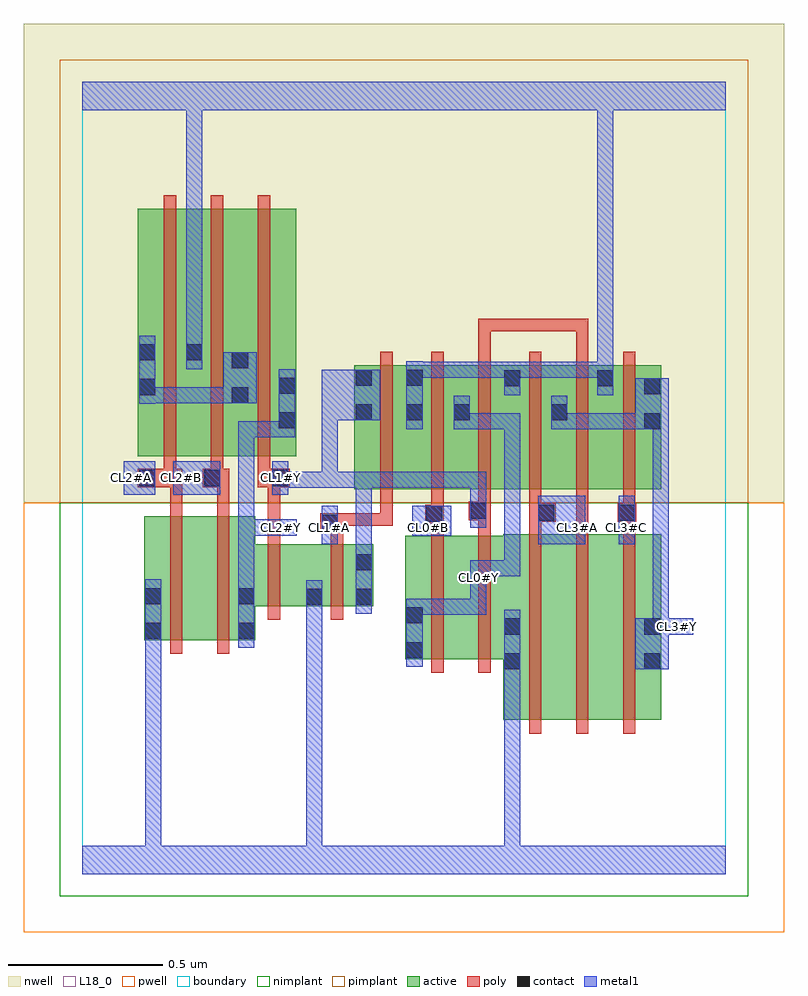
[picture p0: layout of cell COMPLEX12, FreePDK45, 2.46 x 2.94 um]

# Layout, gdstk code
import gdstk
lib = gdstk.Library(unit=1e-6, precision=1e-09)
def R(c, l, rs):  # rectangles x0, y0, x1, y1
    for r in rs: c.add(gdstk.rectangle(r[:2], r[2:], *l))
def A(c, l, x, y, w, h, nx, ny, dx, dy):  # array of equal rectangles
    R(c, l, [(x+i*dx, y+j*dy, x+i*dx+w, y+j*dy+h) for i in range(nx) for j in range(ny)])
active = (1, 0)
pwell = (2, 0)
nwell = (3, 0)
nimplant = (4, 0)
pimplant = (5, 0)
poly = (9, 0)
contact = (10, 0)
metal1 = (11, 0)
L18_0 = (18, 0)
boundary = (235, 0)

complex12 = lib.new_cell('COMPLEX12')
R(complex12, active, [(1.36,0.498,1.54,1.098), (1.36,0.498,1.42,1.094), (1.54,0.498,1.692,1.098), (1.692,0.498,1.872,1.098), (1.812,0.556,1.872,1.098), (1.044,0.694,1.224,1.094), (1.044,0.694,1.104,1.094), (1.224,0.694,1.42,1.094), (0.2,0.756,0.38,1.156), (0.2,0.756,0.26,1.156), (0.38,0.756,0.56,1.156), (0.5,0.756,0.56,0.928), (0.5,0.866,0.78,1.066), (0.72,0.866,0.94,1.066), (0.72,0.866,0.78,0.926), (0.88,0.866,0.94,1.066), (0.88,1.244,0.94,1.644), (0.88,1.244,1.104,1.644), (1.044,1.244,1.104,1.644), (1.044,1.244,1.256,1.644), (1.196,1.244,1.256,1.644), (1.196,1.244,1.42,1.644), (1.36,1.244,1.42,1.644), (1.36,1.244,1.572,1.644), (1.512,1.244,1.572,1.644), (1.512,1.244,1.72,1.644), (1.66,1.244,1.72,1.644), (1.66,1.244,1.872,1.644), (1.812,1.244,1.872,1.644), (0.18,1.35,0.24,2.044), (0.18,1.35,0.392,2.15), (0.332,1.35,0.54,2.15), (0.48,1.35,0.692,2.15), (0.632,1.35,0.692,2.044), (0.48,1.518,0.54,2.044), (0.332,1.656,0.392,2.044)])
R(complex12, pwell, [(-0.188,-0.188,2.268,1.2)])
R(complex12, nwell, [(-0.188,1.2,2.268,2.748)])
R(complex12, nimplant, [(-0.072,-0.072,2.152,1.2)])
R(complex12, pimplant, [(-0.072,1.2,2.152,2.632)])
A(complex12, poly, 1.444, 0.454, 0.04, 0.688, 3, 1, 0.152, 0)
A(complex12, poly, 1.444, 1.2, 0.04, 0.488, 3, 1, 0.152, 0)
A(complex12, poly, 0.264, 1.27, 0.04, 0.076, 3, 1, 0.152, 0)
A(complex12, poly, 0.264, 1.306, 0.04, 0.888, 3, 1, 0.152, 0)
R(complex12, poly, [(1.128,0.65,1.168,1.138), (1.28,0.65,1.32,1.138), (0.284,0.712,0.324,1.2), (0.436,0.712,0.476,1.2), (0.6,0.822,0.64,1.11), (0.804,0.822,0.844,1.11), (0.6,1.07,0.64,1.29), (0.804,1.07,0.844,1.146), (1.128,1.098,1.168,1.174), (1.28,1.098,1.32,1.184), (1.444,1.102,1.484,1.178), (1.596,1.102,1.636,1.204), (1.748,1.102,1.788,1.178), (0.77,1.106,0.844,1.166), (0.804,1.126,0.844,1.166), (0.804,1.126,1.004,1.166), (0.964,1.126,1.004,1.24), (1.108,1.134,1.168,1.194), (1.444,1.138,1.53,1.198), (1.73,1.138,1.79,1.198), (1.25,1.144,1.32,1.204), (1.28,1.144,1.32,1.184), (1.28,1.144,1.32,1.184), (1.128,1.154,1.168,1.194), (1.128,1.154,1.168,1.194), (1.128,1.154,1.168,1.24), (1.444,1.158,1.484,1.24), (1.444,1.158,1.484,1.198), (1.444,1.158,1.484,1.198), (1.748,1.158,1.788,1.24), (1.748,1.158,1.788,1.198), (1.748,1.158,1.788,1.198), (0.284,1.16,0.324,1.29), (0.436,1.16,0.476,1.29), (1.28,1.164,1.32,1.24), (1.596,1.164,1.636,1.204), (1.596,1.164,1.636,1.204), (1.596,1.164,1.636,1.204), (1.596,1.164,1.636,1.24), (0.964,1.2,1.004,1.688), (1.128,1.2,1.168,1.688), (1.28,1.2,1.32,1.688), (0.18,1.25,0.324,1.31), (0.39,1.25,0.476,1.31), (0.568,1.25,0.67,1.31), (0.6,1.25,0.64,1.29), (0.6,1.25,0.64,1.29), (0.264,1.27,0.304,1.31), (0.264,1.27,0.304,1.31), (0.416,1.27,0.456,1.31), (0.416,1.27,0.456,1.31), (1.28,1.648,1.32,1.794), (1.596,1.648,1.636,1.794), (1.28,1.754,1.32,1.794), (1.28,1.754,1.426,1.794), (1.386,1.754,1.426,1.794), (1.386,1.754,1.426,1.794), (1.386,1.754,1.426,1.794), (1.386,1.754,1.636,1.794), (1.596,1.754,1.636,1.794), (1.596,1.754,1.636,1.794), (1.596,1.754,1.636,1.794)])
R(complex12, contact, [(1.364,0.662,1.416,0.714), (1.816,0.662,1.868,0.714), (1.048,0.698,1.1,0.75), (0.204,0.76,0.256,0.812), (0.504,0.76,0.556,0.812), (1.364,0.774,1.416,0.826), (1.816,0.774,1.868,0.826), (1.048,0.81,1.1,0.862), (0.724,0.87,0.776,0.922), (0.884,0.87,0.936,0.922), (0.204,0.872,0.256,0.924), (0.504,0.872,0.556,0.924), (0.884,0.982,0.936,1.034), (0.774,1.11,0.826,1.162), (1.112,1.138,1.164,1.19), (1.474,1.142,1.526,1.194), (1.734,1.142,1.786,1.194), (1.254,1.148,1.306,1.2), (0.184,1.254,0.236,1.306), (0.394,1.254,0.446,1.306), (0.614,1.254,0.666,1.306), (1.816,1.438,1.868,1.49), (0.636,1.44,0.688,1.492), (0.884,1.466,0.936,1.518), (1.048,1.466,1.1,1.518), (1.2,1.466,1.252,1.518), (1.516,1.466,1.568,1.518), (0.484,1.522,0.536,1.574), (0.184,1.548,0.236,1.6), (1.816,1.55,1.868,1.602), (0.636,1.552,0.688,1.604), (1.364,1.576,1.416,1.628), (1.664,1.576,1.716,1.628), (0.884,1.578,0.936,1.63), (1.048,1.578,1.1,1.63), (0.484,1.634,0.536,1.686), (0.184,1.66,0.236,1.712), (0.336,1.66,0.388,1.712)])
R(complex12, metal1, [(0,0,2.08,0.092), (0.204,0.04,0.256,0.092), (0.204,0.04,0.256,0.092), (0.204,0.04,0.256,0.784), (0.724,0.04,0.776,0.092), (0.724,0.04,0.776,0.092), (0.724,0.04,0.776,0.092), (0.724,0.04,0.776,0.092), (0.724,0.04,0.776,0.092), (0.724,0.04,0.776,0.092), (0.724,0.04,0.776,0.894), (1.364,0.04,1.416,0.686), (1.364,0.634,1.416,0.686), (1.364,0.634,1.416,0.686), (1.364,0.634,1.416,0.686), (1.364,0.634,1.416,0.686), (1.364,0.634,1.416,0.686), (1.364,0.634,1.416,0.686), (1.364,0.634,1.416,0.686), (1.364,0.634,1.416,0.686), (1.364,0.634,1.416,0.854), (1.788,0.662,1.896,0.826), (1.048,0.67,1.1,0.89), (0.204,0.732,0.256,0.784), (0.204,0.732,0.256,0.784), (0.204,0.732,0.256,0.784), (0.204,0.732,0.256,0.784), (0.204,0.732,0.256,0.784), (0.204,0.732,0.256,0.784), (0.204,0.732,0.256,0.784), (0.204,0.732,0.256,0.784), (0.204,0.732,0.256,0.784), (0.204,0.732,0.256,0.784), (0.204,0.732,0.256,0.952), (0.504,0.732,0.556,0.952), (1.844,0.774,1.896,0.826), (1.844,0.774,1.896,1.49), (1.844,0.774,1.974,0.826), (1.048,0.838,1.1,0.89), (1.048,0.838,1.1,0.89), (1.048,0.838,1.306,0.89), (1.254,0.838,1.306,0.89), (1.254,0.838,1.306,0.958), (0.724,0.842,0.776,0.894), (0.724,0.842,0.776,0.894), (0.724,0.842,0.776,0.894), (0.724,0.842,0.776,0.894), (0.724,0.842,0.776,0.894), (0.724,0.842,0.776,0.894), (0.724,0.842,0.776,0.894), (0.724,0.842,0.776,0.894), (0.724,0.842,0.776,0.894), (0.724,0.842,0.776,0.894), (0.724,0.842,0.776,0.95), (0.884,0.842,0.936,1.062), (0.504,0.9,0.556,1.146), (1.254,0.906,1.306,1.014), (1.254,0.962,1.306,1.014), (1.254,0.962,1.306,1.014), (1.254,0.962,1.416,1.014), (1.364,0.962,1.416,1.014), (1.364,0.962,1.416,1.49), (0.884,1.01,0.936,1.3), (0.774,1.066,0.826,1.19), (1.474,1.066,1.626,1.222), (1.734,1.066,1.786,1.222), (0.504,1.094,0.556,1.146), (0.504,1.094,0.556,1.146), (0.504,1.094,0.556,1.464), (0.504,1.094,0.694,1.146), (1.066,1.094,1.192,1.19), (1.254,1.12,1.306,1.228), (1.254,1.176,1.306,1.228), (1.254,1.176,1.306,1.3), (0.134,1.226,0.236,1.334), (0.294,1.226,0.446,1.334), (0.614,1.226,0.666,1.334), (0.614,1.248,0.666,1.3), (0.614,1.248,0.666,1.3), (0.614,1.248,0.826,1.3), (0.774,1.248,0.826,1.3), (0.774,1.248,0.826,1.3), (0.774,1.248,0.826,1.3), (0.774,1.248,0.936,1.3), (0.774,1.248,0.826,1.518), (0.884,1.248,0.936,1.3), (0.884,1.248,0.936,1.3), (0.884,1.248,0.936,1.3), (0.884,1.248,0.936,1.3), (0.884,1.248,0.936,1.3), (0.884,1.248,1.192,1.3), (1.14,1.248,1.192,1.3), (1.14,1.248,1.306,1.3), (0.504,1.412,0.556,1.464), (0.504,1.412,0.556,1.464), (0.504,1.412,0.556,1.464), (0.504,1.412,0.688,1.464), (0.636,1.412,0.688,1.632), (1.048,1.438,1.1,1.658), (1.2,1.438,1.252,1.546), (1.2,1.438,1.306,1.49), (1.254,1.438,1.306,1.49), (1.254,1.438,1.416,1.49), (1.364,1.438,1.416,1.49), (1.364,1.438,1.416,1.49), (1.364,1.438,1.416,1.49), (1.516,1.438,1.568,1.49), (1.516,1.438,1.568,1.49), (1.516,1.438,1.568,1.546), (1.516,1.438,1.678,1.49), (1.626,1.438,1.678,1.49), (1.626,1.438,1.84,1.49), (1.788,1.438,1.84,1.49), (1.788,1.438,1.84,1.49), (1.788,1.438,1.896,1.602), (1.844,1.438,1.896,1.49), (1.844,1.438,1.896,1.49), (0.774,1.466,0.964,1.63), (0.184,1.52,0.236,1.74), (0.184,1.522,0.236,1.574), (0.184,1.522,0.236,1.574), (0.184,1.522,0.398,1.574), (0.346,1.522,0.398,1.574), (0.346,1.522,0.398,1.574), (0.346,1.522,0.398,1.574), (0.346,1.522,0.398,1.574), (0.346,1.522,0.398,1.574), (0.346,1.522,0.508,1.574), (0.456,1.522,0.564,1.686), (1.364,1.548,1.416,1.656), (1.664,1.548,1.716,1.656), (1.048,1.604,1.1,1.656), (1.048,1.604,1.1,1.656), (1.048,1.604,1.302,1.656), (1.25,1.604,1.302,1.656), (1.25,1.604,1.302,1.656), (1.25,1.604,1.302,1.656), (1.25,1.604,1.416,1.656), (1.364,1.604,1.416,1.656), (1.364,1.604,1.416,1.656), (1.364,1.604,1.568,1.656), (1.516,1.604,1.568,1.656), (1.516,1.604,1.568,1.656), (1.516,1.604,1.568,1.656), (1.516,1.604,1.716,1.656), (1.664,1.604,1.716,1.656), (1.664,1.604,1.716,1.656), (1.664,1.604,1.716,1.656), (1.664,1.604,1.716,1.656), (1.664,1.604,1.716,2.52), (0.336,1.632,0.388,1.74), (0.336,1.688,0.388,1.74), (0.336,1.688,0.388,1.74), (0.336,1.688,0.388,1.74), (0.336,1.688,0.388,1.74), (0.336,1.688,0.388,1.74), (0.336,1.688,0.388,1.74), (0.336,1.688,0.388,1.74), (0.336,1.688,0.388,1.74), (0.336,1.688,0.388,2.52), (0,2.468,2.08,2.56), (1.664,2.468,1.716,2.52), (1.664,2.468,1.716,2.52), (1.664,2.468,1.716,2.52), (1.664,2.468,1.716,2.52), (1.664,2.468,1.716,2.52), (1.664,2.468,1.716,2.52), (1.664,2.468,1.716,2.52), (1.664,2.468,1.716,2.52), (1.664,2.468,1.716,2.52), (1.664,2.468,1.716,2.52), (1.664,2.468,1.716,2.52), (1.664,2.468,1.716,2.52)])
R(complex12, L18_0, [(0,0,2.08,0.092), (0.204,0.04,0.256,0.092), (0.204,0.04,0.256,0.092), (0.204,0.04,0.256,0.784), (0.724,0.04,0.776,0.092), (0.724,0.04,0.776,0.092), (0.724,0.04,0.776,0.092), (0.724,0.04,0.776,0.092), (0.724,0.04,0.776,0.092), (0.724,0.04,0.776,0.092), (0.724,0.04,0.776,0.894), (1.364,0.04,1.416,0.686), (1.364,0.634,1.416,0.686), (1.364,0.634,1.416,0.686), (1.364,0.634,1.416,0.686), (1.364,0.634,1.416,0.686), (1.364,0.634,1.416,0.686), (1.364,0.634,1.416,0.686), (1.364,0.634,1.416,0.686), (1.364,0.634,1.416,0.686), (1.364,0.634,1.416,0.854), (1.788,0.662,1.896,0.826), (1.048,0.67,1.1,0.89), (0.204,0.732,0.256,0.784), (0.204,0.732,0.256,0.784), (0.204,0.732,0.256,0.784), (0.204,0.732,0.256,0.784), (0.204,0.732,0.256,0.784), (0.204,0.732,0.256,0.784), (0.204,0.732,0.256,0.784), (0.204,0.732,0.256,0.784), (0.204,0.732,0.256,0.784), (0.204,0.732,0.256,0.784), (0.204,0.732,0.256,0.952), (0.504,0.732,0.556,0.952), (1.844,0.774,1.896,0.826), (1.844,0.774,1.974,0.826), (1.844,0.774,1.896,1.49), (1.894,0.774,1.946,0.826), (1.048,0.838,1.1,0.89), (1.048,0.838,1.1,0.89), (1.048,0.838,1.306,0.89), (1.254,0.838,1.306,0.89), (1.254,0.838,1.306,0.958), (0.724,0.842,0.776,0.894), (0.724,0.842,0.776,0.894), (0.724,0.842,0.776,0.894), (0.724,0.842,0.776,0.894), (0.724,0.842,0.776,0.894), (0.724,0.842,0.776,0.894), (0.724,0.842,0.776,0.894), (0.724,0.842,0.776,0.894), (0.724,0.842,0.776,0.894), (0.724,0.842,0.776,0.894), (0.724,0.842,0.776,0.95), (0.884,0.842,0.936,1.062), (0.504,0.9,0.556,1.146), (1.254,0.906,1.306,1.014), (1.254,0.934,1.306,0.986), (1.254,0.962,1.306,1.014), (1.254,0.962,1.306,1.014), (1.254,0.962,1.416,1.014), (1.364,0.962,1.416,1.014), (1.364,0.962,1.416,1.49), (0.884,1.01,0.936,1.3), (0.774,1.066,0.826,1.19), (1.474,1.066,1.626,1.222), (1.734,1.066,1.786,1.222), (0.504,1.094,0.556,1.146), (0.504,1.094,0.556,1.146), (0.504,1.094,0.694,1.146), (0.504,1.094,0.556,1.464), (0.614,1.094,0.666,1.146), (0.774,1.094,0.826,1.146), (1.066,1.094,1.192,1.19), (1.094,1.094,1.146,1.146), (1.574,1.094,1.626,1.146), (1.734,1.094,1.786,1.146), (1.254,1.12,1.306,1.228), (1.254,1.176,1.306,1.228), (1.254,1.176,1.306,1.3), (0.134,1.226,0.236,1.334), (0.294,1.226,0.446,1.334), (0.614,1.226,0.666,1.334), (0.614,1.248,0.666,1.3), (0.614,1.248,0.666,1.3), (0.614,1.248,0.826,1.3), (0.774,1.248,0.826,1.3), (0.774,1.248,0.826,1.3), (0.774,1.248,0.826,1.3), (0.774,1.248,0.826,1.518), (0.774,1.248,0.936,1.3), (0.884,1.248,0.936,1.3), (0.884,1.248,0.936,1.3), (0.884,1.248,0.936,1.3), (0.884,1.248,0.936,1.3), (0.884,1.248,0.936,1.3), (0.884,1.248,1.192,1.3), (1.14,1.248,1.192,1.3), (1.14,1.248,1.306,1.3), (0.134,1.254,0.186,1.306), (0.294,1.254,0.346,1.306), (0.614,1.254,0.666,1.306), (0.504,1.412,0.556,1.464), (0.504,1.412,0.556,1.464), (0.504,1.412,0.556,1.464), (0.504,1.412,0.688,1.464), (0.636,1.412,0.688,1.632), (1.048,1.438,1.1,1.658), (1.2,1.438,1.252,1.546), (1.2,1.438,1.306,1.49), (1.254,1.438,1.306,1.49), (1.254,1.438,1.416,1.49), (1.364,1.438,1.416,1.49), (1.364,1.438,1.416,1.49), (1.364,1.438,1.416,1.49), (1.516,1.438,1.568,1.49), (1.516,1.438,1.568,1.49), (1.516,1.438,1.568,1.546), (1.516,1.438,1.678,1.49), (1.626,1.438,1.678,1.49), (1.626,1.438,1.84,1.49), (1.788,1.438,1.84,1.49), (1.788,1.438,1.84,1.49), (1.788,1.438,1.896,1.602), (1.844,1.438,1.896,1.49), (1.844,1.438,1.896,1.49), (0.774,1.466,0.964,1.63), (1.364,1.548,1.416,1.656), (1.664,1.548,1.716,1.656), (1.048,1.604,1.1,1.656), (1.048,1.604,1.1,1.656), (1.048,1.604,1.302,1.656), (1.25,1.604,1.302,1.656), (1.25,1.604,1.302,1.656), (1.25,1.604,1.302,1.656), (1.25,1.604,1.416,1.656), (1.364,1.604,1.416,1.656), (1.364,1.604,1.416,1.656), (1.364,1.604,1.568,1.656), (1.516,1.604,1.568,1.656), (1.516,1.604,1.568,1.656), (1.516,1.604,1.568,1.656), (1.516,1.604,1.716,1.656), (1.664,1.604,1.716,1.656), (1.664,1.604,1.716,1.656), (1.664,1.604,1.716,1.656), (1.664,1.604,1.716,1.656), (1.664,1.604,1.716,2.52), (0.336,1.632,0.388,1.74), (0.336,1.688,0.388,1.74), (0.336,1.688,0.388,1.74), (0.336,1.688,0.388,1.74), (0.336,1.688,0.388,1.74), (0.336,1.688,0.388,1.74), (0.336,1.688,0.388,1.74), (0.336,1.688,0.388,1.74), (0.336,1.688,0.388,1.74), (0.336,1.688,0.388,2.52), (0,2.468,2.08,2.56), (1.664,2.468,1.716,2.52), (1.664,2.468,1.716,2.52), (1.664,2.468,1.716,2.52), (1.664,2.468,1.716,2.52), (1.664,2.468,1.716,2.52), (1.664,2.468,1.716,2.52), (1.664,2.468,1.716,2.52), (1.664,2.468,1.716,2.52), (1.664,2.468,1.716,2.52), (1.664,2.468,1.716,2.52), (1.664,2.468,1.716,2.52), (1.664,2.468,1.716,2.52)])
R(complex12, boundary, [(0,0,2.08,2.56)])
complex12.add(gdstk.Label('CL0#B', (1.12,1.12), layer=11, texttype=0))
complex12.add(gdstk.Label('CL0#Y', (1.28,0.96), layer=11, texttype=0))
complex12.add(gdstk.Label('CL1#A', (0.8,1.12), layer=11, texttype=0))
complex12.add(gdstk.Label('CL1#Y', (0.64,1.28), layer=11, texttype=0))
complex12.add(gdstk.Label('CL2#A', (0.16,1.28), layer=11, texttype=0))
complex12.add(gdstk.Label('CL2#B', (0.32,1.28), layer=11, texttype=0))
complex12.add(gdstk.Label('CL2#Y', (0.64,1.12), layer=11, texttype=0))
complex12.add(gdstk.Label('CL3#A', (1.6,1.12), layer=11, texttype=0))
complex12.add(gdstk.Label('CL3#C', (1.76,1.12), layer=11, texttype=0))
complex12.add(gdstk.Label('CL3#Y', (1.92,0.8), layer=11, texttype=0))

lib.write_gds('COMPLEX12.gds')
